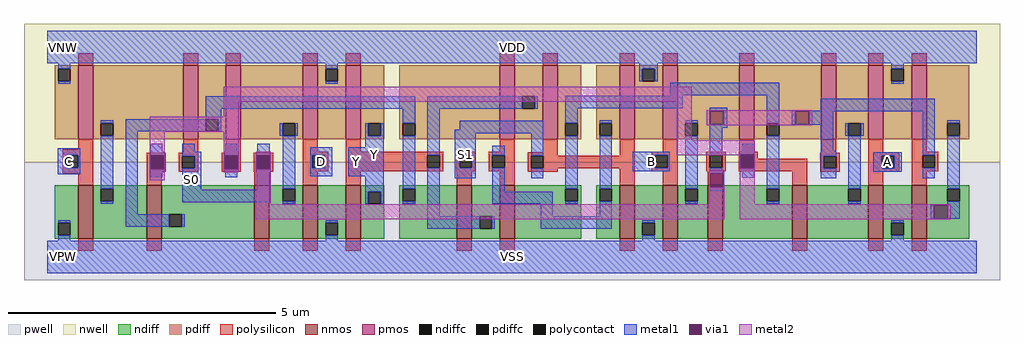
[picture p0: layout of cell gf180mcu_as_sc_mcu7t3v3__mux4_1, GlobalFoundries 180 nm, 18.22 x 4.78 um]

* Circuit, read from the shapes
.subckt gf180mcu_as_sc_mcu7t3v3__mux4_1 VDD VNW VPW VSS C D Y B A S0 S1
XM1 n1 C VSS VPW nfet_03v3 w=1u l=0.28u
XM2 n2 n3 n1 VPW nfet_03v3 w=1u l=0.28u
XM3 n4 S0 n2 VPW nfet_03v3 w=1u l=0.28u
XM4 VSS D n4 VPW nfet_03v3 w=1u l=0.28u
XM5 Y n5 VSS VPW nfet_03v3 w=1u l=0.28u
XM6 n5 S1 n2 VPW nfet_03v3 w=1u l=0.28u
XM7 n6 n7 n5 VPW nfet_03v3 w=1u l=0.28u
XM8 VSS S1 n7 VPW nfet_03v3 w=1u l=0.28u
XM9 n8 B VSS VPW nfet_03v3 w=1u l=0.28u
XM10 n6 S0 n8 VPW nfet_03v3 w=1u l=0.28u
XM11 n9 n3 n6 VPW nfet_03v3 w=1u l=0.28u
XM12 VSS A n9 VPW nfet_03v3 w=1u l=0.28u
XM13 n3 S0 VSS VPW nfet_03v3 w=1u l=0.28u
XM14 n1 C VDD VNW pfet_03v3 w=1.38u l=0.28u
XM15 n2 S0 n1 VNW pfet_03v3 w=1.38u l=0.28u
XM16 n4 n3 n2 VNW pfet_03v3 w=1.38u l=0.28u
XM17 VDD D n4 VNW pfet_03v3 w=1.38u l=0.28u
XM18 Y n5 VDD VNW pfet_03v3 w=1.38u l=0.28u
XM19 n5 n7 n2 VNW pfet_03v3 w=1.38u l=0.28u
XM20 n6 S1 n5 VNW pfet_03v3 w=1.38u l=0.28u
XM21 VDD S1 n7 VNW pfet_03v3 w=1.38u l=0.28u
XM22 n8 B VDD VNW pfet_03v3 w=1.38u l=0.28u
XM23 n6 n3 n8 VNW pfet_03v3 w=1.38u l=0.28u
XM24 n9 S0 n6 VNW pfet_03v3 w=1.38u l=0.28u
XM25 VDD A n9 VNW pfet_03v3 w=1.38u l=0.28u
XM26 n3 S0 VDD VNW pfet_03v3 w=1.38u l=0.28u
.ends

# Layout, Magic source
magic
tech gf180mcuD
magscale 1 10
<< nwell >>
rect -86 354 3558 870
<< pwell >>
rect -86 -86 3558 354
<< nmos >>
rect 116 68 172 268
rect 372 68 428 268
rect 773 68 829 268
rect 955 68 1011 268
rect 1115 68 1171 268
rect 1530 68 1586 268
rect 1690 68 1746 268
rect 2138 68 2194 268
rect 2298 68 2354 268
rect 2466 68 2522 268
rect 2783 68 2839 268
rect 3067 68 3123 268
rect 3229 68 3285 268
<< pmos >>
rect 116 440 172 716
rect 508 440 564 716
rect 668 440 724 716
rect 955 440 1011 716
rect 1115 440 1171 716
rect 1690 440 1746 716
rect 1850 440 1906 716
rect 2138 440 2194 716
rect 2298 440 2354 716
rect 2584 440 2640 716
rect 2890 440 2946 716
rect 3067 440 3123 716
rect 3229 440 3285 716
<< ndiff >>
rect 28 127 116 268
rect 28 81 41 127
rect 87 81 116 127
rect 28 68 116 81
rect 172 255 372 268
rect 172 209 201 255
rect 247 209 372 255
rect 172 68 372 209
rect 428 159 773 268
rect 428 113 457 159
rect 503 113 773 159
rect 428 68 773 113
rect 829 255 955 268
rect 829 209 880 255
rect 926 209 955 255
rect 829 68 955 209
rect 1011 127 1115 268
rect 1011 81 1040 127
rect 1086 81 1115 127
rect 1011 68 1115 81
rect 1171 244 1259 268
rect 1171 198 1200 244
rect 1246 198 1259 244
rect 1171 68 1259 198
rect 1315 255 1530 268
rect 1315 209 1328 255
rect 1374 209 1530 255
rect 1315 68 1530 209
rect 1586 152 1690 268
rect 1586 106 1615 152
rect 1661 106 1690 152
rect 1586 68 1690 106
rect 1746 255 1994 268
rect 1746 209 1935 255
rect 1981 209 1994 255
rect 1746 68 1994 209
rect 2050 255 2138 268
rect 2050 209 2063 255
rect 2109 209 2138 255
rect 2050 68 2138 209
rect 2194 127 2298 268
rect 2194 81 2223 127
rect 2269 81 2298 127
rect 2194 68 2298 81
rect 2354 255 2466 268
rect 2354 209 2383 255
rect 2429 209 2466 255
rect 2354 68 2466 209
rect 2522 255 2783 268
rect 2522 209 2687 255
rect 2733 209 2783 255
rect 2522 68 2783 209
rect 2839 255 3067 268
rect 2839 209 2992 255
rect 3038 209 3067 255
rect 2839 68 3067 209
rect 3123 127 3229 268
rect 3123 81 3152 127
rect 3198 81 3229 127
rect 3123 68 3229 81
rect 3285 255 3444 268
rect 3285 209 3361 255
rect 3407 209 3444 255
rect 3285 68 3444 209
<< pdiff >>
rect 28 703 116 716
rect 28 657 41 703
rect 87 657 116 703
rect 28 440 116 657
rect 172 499 508 716
rect 172 453 201 499
rect 247 453 508 499
rect 172 440 508 453
rect 564 515 668 716
rect 564 469 593 515
rect 639 469 668 515
rect 564 440 668 469
rect 724 499 955 716
rect 724 453 880 499
rect 926 453 955 499
rect 724 440 955 453
rect 1011 703 1115 716
rect 1011 657 1040 703
rect 1086 657 1115 703
rect 1011 440 1115 657
rect 1171 499 1259 716
rect 1171 453 1200 499
rect 1246 453 1259 499
rect 1171 440 1259 453
rect 1315 499 1690 716
rect 1315 453 1328 499
rect 1374 453 1690 499
rect 1315 440 1690 453
rect 1746 600 1850 716
rect 1746 554 1775 600
rect 1821 554 1850 600
rect 1746 440 1850 554
rect 1906 499 1994 716
rect 1906 453 1935 499
rect 1981 453 1994 499
rect 1906 440 1994 453
rect 2050 499 2138 716
rect 2050 453 2063 499
rect 2109 453 2138 499
rect 2050 440 2138 453
rect 2194 703 2298 716
rect 2194 657 2223 703
rect 2269 657 2298 703
rect 2194 440 2298 657
rect 2354 499 2584 716
rect 2354 453 2383 499
rect 2429 453 2584 499
rect 2354 440 2584 453
rect 2640 499 2890 716
rect 2640 453 2687 499
rect 2733 453 2890 499
rect 2640 440 2890 453
rect 2946 499 3067 716
rect 2946 453 2992 499
rect 3038 453 3067 499
rect 2946 440 3067 453
rect 3123 703 3229 716
rect 3123 657 3152 703
rect 3198 657 3229 703
rect 3123 440 3229 657
rect 3285 499 3444 716
rect 3285 453 3361 499
rect 3407 453 3444 499
rect 3285 440 3444 453
<< ndiffc >>
rect 41 81 87 127
rect 201 209 247 255
rect 457 113 503 159
rect 880 209 926 255
rect 1040 81 1086 127
rect 1200 198 1246 244
rect 1328 209 1374 255
rect 1615 106 1661 152
rect 1935 209 1981 255
rect 2063 209 2109 255
rect 2223 81 2269 127
rect 2383 209 2429 255
rect 2687 209 2733 255
rect 2992 209 3038 255
rect 3152 81 3198 127
rect 3361 209 3407 255
<< pdiffc >>
rect 41 657 87 703
rect 201 453 247 499
rect 593 469 639 515
rect 880 453 926 499
rect 1040 657 1086 703
rect 1200 453 1246 499
rect 1328 453 1374 499
rect 1775 554 1821 600
rect 1935 453 1981 499
rect 2063 453 2109 499
rect 2223 657 2269 703
rect 2383 453 2429 499
rect 2687 453 2733 499
rect 2992 453 3038 499
rect 3152 657 3198 703
rect 3361 453 3407 499
<< polysilicon >>
rect 116 716 172 760
rect 508 716 564 760
rect 668 716 724 760
rect 955 716 1011 760
rect 1115 716 1171 760
rect 1690 716 1746 760
rect 1850 716 1906 760
rect 2138 716 2194 760
rect 2298 716 2354 760
rect 2584 716 2640 760
rect 2890 716 2946 760
rect 3067 716 3123 760
rect 3229 716 3285 760
rect 116 403 172 440
rect 58 380 172 403
rect 508 390 564 440
rect 668 390 724 440
rect 955 392 1011 440
rect 1115 392 1171 440
rect 1690 392 1746 440
rect 58 334 71 380
rect 117 334 172 380
rect 58 310 172 334
rect 116 268 172 310
rect 372 377 444 390
rect 372 331 385 377
rect 431 331 444 377
rect 372 318 444 331
rect 492 377 564 390
rect 492 331 505 377
rect 551 331 564 377
rect 492 318 564 331
rect 652 377 724 390
rect 652 331 665 377
rect 711 331 724 377
rect 652 318 724 331
rect 772 377 844 390
rect 772 331 785 377
rect 831 331 844 377
rect 772 318 844 331
rect 955 379 1050 392
rect 955 333 991 379
rect 1037 333 1050 379
rect 955 320 1050 333
rect 1115 379 1479 392
rect 1115 333 1420 379
rect 1466 333 1479 379
rect 1115 320 1479 333
rect 1527 379 1599 392
rect 1527 333 1540 379
rect 1586 333 1599 379
rect 1527 320 1599 333
rect 1650 379 1746 392
rect 1850 391 1906 440
rect 1650 333 1663 379
rect 1709 333 1746 379
rect 1650 320 1746 333
rect 372 268 428 318
rect 773 268 829 318
rect 955 268 1011 320
rect 1115 268 1171 320
rect 1530 268 1586 320
rect 1690 268 1746 320
rect 1794 378 1906 391
rect 2138 378 2194 440
rect 2298 392 2354 440
rect 2584 393 2640 440
rect 1794 332 1807 378
rect 1853 332 2194 378
rect 1794 319 1906 332
rect 2138 268 2194 332
rect 2258 379 2354 392
rect 2258 333 2271 379
rect 2317 333 2354 379
rect 2258 320 2354 333
rect 2462 380 2534 393
rect 2462 334 2475 380
rect 2521 334 2534 380
rect 2462 321 2534 334
rect 2582 380 2654 393
rect 2890 390 2946 440
rect 3067 391 3123 440
rect 3229 392 3285 440
rect 2582 334 2595 380
rect 2641 367 2654 380
rect 2887 377 2959 390
rect 2641 334 2839 367
rect 2582 321 2839 334
rect 2298 268 2354 320
rect 2466 268 2522 321
rect 2783 268 2839 321
rect 2887 331 2900 377
rect 2946 331 2959 377
rect 2887 318 2959 331
rect 3067 378 3181 391
rect 3067 332 3117 378
rect 3163 332 3181 378
rect 3067 319 3181 332
rect 3229 379 3328 392
rect 3229 333 3269 379
rect 3315 333 3328 379
rect 3229 320 3328 333
rect 3067 268 3123 319
rect 3229 268 3285 320
rect 116 24 172 68
rect 372 24 428 68
rect 773 24 829 68
rect 955 24 1011 68
rect 1115 24 1171 68
rect 1530 24 1586 68
rect 1690 24 1746 68
rect 2138 24 2194 68
rect 2298 24 2354 68
rect 2466 24 2522 68
rect 2783 24 2839 68
rect 3067 24 3123 68
rect 3229 24 3285 68
<< polycontact >>
rect 71 334 117 380
rect 385 331 431 377
rect 505 331 551 377
rect 665 331 711 377
rect 785 331 831 377
rect 991 333 1037 379
rect 1420 333 1466 379
rect 1540 333 1586 379
rect 1663 333 1709 379
rect 1807 332 1853 378
rect 2271 333 2317 379
rect 2475 334 2521 380
rect 2595 334 2641 380
rect 2900 331 2946 377
rect 3117 332 3163 378
rect 3269 333 3315 379
<< metal1 >>
rect 0 724 3472 844
rect 41 703 87 724
rect 41 646 87 657
rect 1040 703 1086 724
rect 2212 703 2280 724
rect 2212 657 2223 703
rect 2269 657 2280 703
rect 3152 703 3198 724
rect 1040 646 1086 657
rect 2327 604 2733 650
rect 3152 646 3198 657
rect 2327 602 2374 604
rect 593 554 1374 600
rect 593 515 650 554
rect 201 499 247 510
rect 40 380 124 406
rect 40 334 71 380
rect 117 334 124 380
rect 40 309 124 334
rect 201 255 247 453
rect 201 198 247 209
rect 293 469 593 515
rect 639 469 650 515
rect 1328 499 1374 554
rect 293 159 339 469
rect 869 453 880 499
rect 926 453 937 499
rect 1189 453 1200 499
rect 1246 453 1257 499
rect 385 392 431 423
rect 505 392 551 423
rect 665 392 711 423
rect 785 392 831 423
rect 385 380 437 392
rect 385 316 437 328
rect 505 377 575 392
rect 551 331 575 377
rect 385 297 431 316
rect 505 251 575 331
rect 662 380 714 392
rect 662 316 714 328
rect 782 380 834 392
rect 782 316 834 328
rect 665 297 711 316
rect 785 251 831 316
rect 505 205 831 251
rect 880 255 926 453
rect 1189 410 1257 453
rect 983 379 1065 409
rect 983 333 991 379
rect 1037 333 1065 379
rect 983 302 1065 333
rect 1124 302 1257 410
rect 880 198 926 209
rect 1189 244 1257 302
rect 1189 198 1200 244
rect 1246 198 1257 244
rect 1328 255 1374 453
rect 1328 198 1374 209
rect 1420 554 1775 600
rect 1821 554 1832 600
rect 1935 556 2374 602
rect 1420 379 1466 554
rect 1540 475 1853 508
rect 41 127 87 138
rect 293 113 457 159
rect 503 113 514 159
rect 1420 152 1466 333
rect 1523 462 1853 475
rect 1523 379 1601 462
rect 1523 333 1540 379
rect 1586 333 1601 379
rect 1523 294 1601 333
rect 1663 379 1709 416
rect 1663 244 1709 333
rect 1807 378 1853 462
rect 1807 294 1853 332
rect 1935 499 1981 556
rect 2475 546 2539 558
rect 1935 255 1981 453
rect 1663 198 1889 244
rect 1935 198 1981 209
rect 2063 499 2109 510
rect 2063 255 2109 453
rect 2383 499 2429 510
rect 2187 379 2325 392
rect 2187 333 2271 379
rect 2317 333 2325 379
rect 2187 320 2325 333
rect 1843 152 1889 198
rect 2063 152 2109 209
rect 2383 255 2429 453
rect 2527 494 2539 546
rect 2475 482 2539 494
rect 2687 499 2733 604
rect 2889 546 3315 591
rect 2475 380 2521 482
rect 2781 494 2793 546
rect 2845 545 3315 546
rect 2845 494 2935 545
rect 2595 395 2641 422
rect 2475 324 2521 334
rect 2589 383 2641 395
rect 2475 312 2527 324
rect 2589 319 2641 331
rect 2595 296 2641 319
rect 2475 248 2527 260
rect 2687 255 2733 453
rect 2889 397 2935 494
rect 2981 453 2992 499
rect 3038 453 3049 499
rect 2889 377 2946 397
rect 2889 331 2900 377
rect 2889 294 2946 331
rect 2383 198 2429 209
rect 2687 198 2733 209
rect 2992 255 3038 453
rect 3084 378 3191 391
rect 3084 332 3117 378
rect 3163 332 3191 378
rect 3084 319 3191 332
rect 3269 379 3315 545
rect 3269 294 3315 333
rect 3361 499 3407 510
rect 2992 198 3038 209
rect 3361 255 3407 453
rect 3361 195 3407 209
rect 1040 127 1086 138
rect 41 60 87 81
rect 1420 106 1615 152
rect 1661 106 1672 152
rect 1843 106 2109 152
rect 3299 143 3311 195
rect 3363 143 3407 195
rect 2223 127 2269 138
rect 1040 60 1086 81
rect 2223 60 2269 81
rect 3152 127 3198 138
rect 3152 60 3198 81
rect 0 -60 3472 60
<< via1 >>
rect 385 377 437 380
rect 385 331 431 377
rect 431 331 437 377
rect 385 328 437 331
rect 662 377 714 380
rect 662 331 665 377
rect 665 331 711 377
rect 711 331 714 377
rect 662 328 714 331
rect 782 377 834 380
rect 782 331 785 377
rect 785 331 831 377
rect 831 331 834 377
rect 782 328 834 331
rect 2475 494 2527 546
rect 2793 494 2845 546
rect 2589 380 2641 383
rect 2589 334 2595 380
rect 2595 334 2641 380
rect 2589 331 2641 334
rect 2475 260 2527 312
rect 3311 143 3363 195
<< metal2 >>
rect 660 579 2407 635
rect 660 524 716 579
rect 383 468 716 524
rect 383 380 439 468
rect 383 328 385 380
rect 437 328 439 380
rect 383 287 439 328
rect 660 380 716 468
rect 2351 436 2407 579
rect 2463 546 2857 548
rect 2463 494 2475 546
rect 2527 494 2793 546
rect 2845 494 2857 546
rect 2463 492 2857 494
rect 660 328 662 380
rect 714 328 716 380
rect 660 316 716 328
rect 780 380 836 392
rect 2351 383 2643 436
rect 2351 380 2589 383
rect 780 328 782 380
rect 834 328 836 380
rect 780 197 836 328
rect 2587 331 2589 380
rect 2641 331 2643 383
rect 2473 312 2529 324
rect 2473 260 2475 312
rect 2527 260 2529 312
rect 2473 197 2529 260
rect 780 141 2529 197
rect 2587 197 2643 331
rect 2587 195 3375 197
rect 2587 143 3311 195
rect 3363 143 3375 195
rect 2587 141 3375 143
<< labels >>
flabel metal1 s 0 724 3472 844 0 FreeSans 400 0 0 0 VDD
port 1 nsew power bidirectional abutment
flabel metal1 s 0 -60 3472 60 0 FreeSans 400 0 0 0 VSS
port 4 nsew ground bidirectional abutment
flabel nwell s 10 734 110 834 0 FreeSans 400 0 0 0 VNW
port 2 nsew power bidirectional
flabel pwell s 10 -50 110 50 0 FreeSans 400 0 0 0 VPW
port 3 nsew ground bidirectional
flabel metal1 40 309 124 406 0 FreeSans 200 0 0 0 C
port 5 nsew signal input
flabel metal1 983 302 1065 409 0 FreeSans 200 0 0 0 D
port 6 nsew signal input
flabel metal1 1189 268 1257 499 0 FreeSans 200 0 0 0 Y
port 7 nsew signal output
flabel metal1 1124 302 1189 410 0 FreeSans 200 0 0 0 Y
port 7 nsew signal output
flabel metal1 2187 320 2325 392 0 FreeSans 200 0 0 0 B
port 8 nsew signal input
flabel metal1 3084 319 3191 391 0 FreeSans 200 0 0 0 A
port 9 nsew signal input
flabel metal1 505 205 575 372 0 FreeSans 200 0 0 0 S0
port 10 nsew signal input
flabel metal1 1523 294 1601 475 0 FreeSans 200 0 0 0 S1
port 11 nsew signal input
<< properties >>
string FIXED_BBOX 0 0 3472 784
string LEFclass CORE
string LEFsite unithd
string LEFsymmetry X Y
string MASKHINTS_NPLUS -16 -46 3488 354
string MASKHINTS_PPLUS -16 354 3488 830
<< end >>
